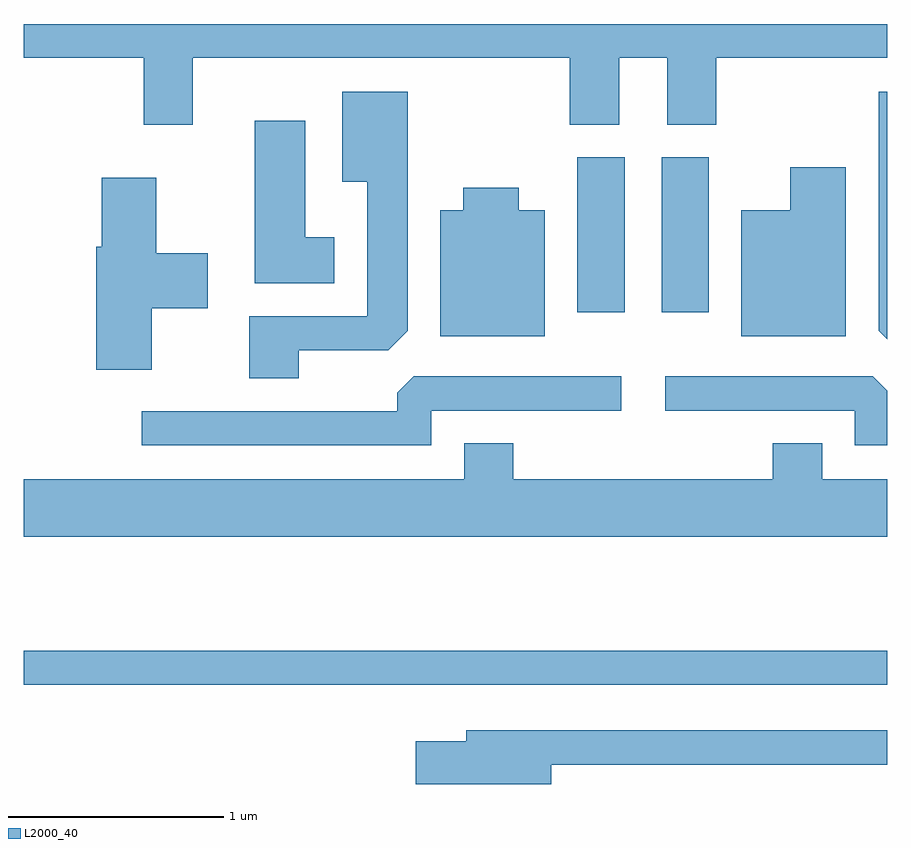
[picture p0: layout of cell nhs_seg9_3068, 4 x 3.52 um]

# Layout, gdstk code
import gdstk
lib = gdstk.Library(unit=1e-6, precision=1e-09)
def R(c, l, rs):  # rectangles x0, y0, x1, y1
    for r in rs: c.add(gdstk.rectangle(r[:2], r[2:], *l))
def P(c, l, *ps):  # polygons
    for p in ps: c.add(gdstk.Polygon(p, *l))
L2000_40 = (2000, 40)

nhs_seg9_3068 = lib.new_cell('nhs_seg9_3068')
R(nhs_seg9_3068, L2000_40, [(275.611,1973.371,279.611,1973.529), (278.176,1975.096,278.394,1975.814), (278.566,1975.096,278.784,1975.814)])
P(nhs_seg9_3068, L2000_40, [(276.394,1976.276),(278.141,1976.276),(278.141,1975.966),(278.369,1975.966),(278.369,1976.276),(278.591,1976.276),(278.591,1975.966),(278.819,1975.966),(278.819,1976.276),(279.611,1976.276),(279.611,1976.432),(275.611,1976.432),(275.611,1976.276),(276.166,1976.276),(276.166,1975.966),(276.394,1975.966)],
  [(279.611,1976.119),(279.571,1976.119),(279.571,1975.012),(279.611,1974.972)],
  [(276.884,1974.921),(277.299,1974.921),(277.389,1975.012),(277.389,1976.119),(277.086,1976.119),(277.086,1975.701),(277.201,1975.701),(277.201,1975.079),(276.656,1975.079),(276.656,1974.791),(276.884,1974.791)],
  [(277.049,1975.444),(276.914,1975.444),(276.914,1975.984),(276.681,1975.984),(276.681,1975.231),(277.049,1975.231)],
  [(279.419,1975.769),(279.161,1975.769),(279.161,1975.569),(278.936,1975.569),(278.936,1974.986),(279.419,1974.986)],
  [(276.204,1975.116),(276.464,1975.116),(276.464,1975.369),(276.224,1975.369),(276.224,1975.719),(275.971,1975.719),(275.971,1975.399),(275.946,1975.399),(275.946,1974.831),(276.204,1974.831)],
  [(278.024,1975.569),(277.904,1975.569),(277.904,1975.674),(277.646,1975.674),(277.646,1975.569),(277.541,1975.569),(277.541,1974.986),(278.024,1974.986)],
  [(277.499,1974.641),(278.378,1974.641),(278.378,1974.799),(277.417,1974.799),(277.341,1974.724),(277.341,1974.639),(276.158,1974.639),(276.158,1974.481),(277.499,1974.481)],
  [(279.611,1974.732),(279.544,1974.799),(278.583,1974.799),(278.583,1974.641),(279.461,1974.641),(279.461,1974.481),(279.611,1974.481)],
  [(279.611,1974.324),(279.309,1974.324),(279.309,1974.489),(279.081,1974.489),(279.081,1974.324),(277.879,1974.324),(277.879,1974.489),(277.651,1974.489),(277.651,1974.324),(275.611,1974.324),(275.611,1974.056),(279.611,1974.056)],
  [(278.054,1973.001),(279.611,1973.001),(279.611,1973.159),(277.661,1973.159),(277.661,1973.109),(277.426,1973.109),(277.426,1972.911),(278.054,1972.911)])

lib.write_gds('nhs_seg9_3068.gds')
